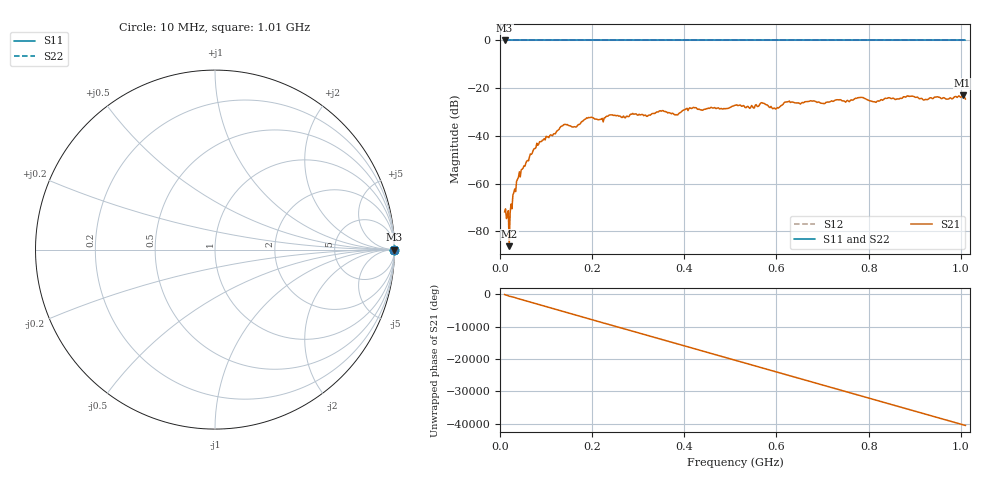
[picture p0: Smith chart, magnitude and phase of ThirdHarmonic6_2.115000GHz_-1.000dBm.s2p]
! 8/17/2025 1:17:34 AM
! C:\ANRITSUVNA\TEMP\TEMP.S2P
! CHANNEL.1
! TR.MEASUREMENT
! RAW.DATA
! RF.CORRECTION.OFF
! AVERAGING.OFF
! IF.BANDWIDTH: 5KHZ
! SWEEPTYPE:  FREQ.SWEEP(Linear)
! Reference Plane Port Info
! PORT:  PORT1  PORT2
! DISTANCE:  0  m  0  m
! TIME:  0  s  0  s
! PHASE.OFFSET:  0  deg.  0  deg.
! LOSS:  0  dB  0  dB
! REF.LOSS:  0  dB  0  dB
! REF.FREQ:  0  Hz  0  Hz
! Power Info
! POWER:  -20  dBm  -20  dBm
! EFF.POWER:  -20  dBm  -20  dBm
! SOURCE.ATTEN:  0  dB  0  dB
! TEST.ATTEN:  0  dB  0  dB
# GHZ S RI R 50.0
! FREQ.GHZ  S11RE  S11IM  S21RE  S21IM  S12RE  S12IM  S22RE  S22IM
!; PortSelection: Port_12
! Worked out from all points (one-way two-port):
!   501 points, 10 MHz to 1.01 GHz, reference 50 ohm
!   highest |S21| = -22.92 dB at 1.004 GHz (marker M1); lowest = -86.3 dB at 20 MHz (marker M2)
!   lowest |S11| = 0.0 dB at 10 MHz (marker M3)
!   |S11| at or under -10 dB: nowhere
!   |S22| runs from 0.0 to 0.0 dB; largest |S21 - S12| = 1.1
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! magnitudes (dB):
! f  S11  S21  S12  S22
! 10 MHz  0.0  -71.9  0.0  0.0
! 18 MHz  0.0  -71.4  0.0  0.0
! 20 MHz  0.0  -86.3  0.0  0.0
! 40 MHz  0.0  -57.4  0.0  0.0
! 76 MHz  0.0  -45.3  0.0  0.0
! 136 MHz  0.0  -35.8  0.0  0.0
! 162 MHz  0.0  -36.2  0.0  0.0
! 178 MHz  0.0  -34.0  0.0  0.0
! 344 MHz  0.0  -29.9  0.0  0.0
! 382 MHz  0.0  -31.1  0.0  0.0
! 416 MHz  0.0  -28.5  0.0  0.0
! 510 MHz  0.0  -27.2  0.0  0.0
! 570 MHz  0.0  -26.3  0.0  0.0
! 596 MHz  0.0  -28.4  0.0  0.0
! 624 MHz  0.0  -25.7  0.0  0.0
! 678 MHz  0.0  -25.4  0.0  0.0
! 702 MHz  0.0  -26.4  0.0  0.0
! 784 MHz  0.0  -23.9  0.0  0.0
! 812 MHz  0.0  -25.7  0.0  0.0
! 844 MHz  0.0  -24.0  0.0  0.0
! 1.004 GHz  0.0  -22.9  0.0  0.0
! 1.01 GHz  0.0  -24.5  0.0  0.0
